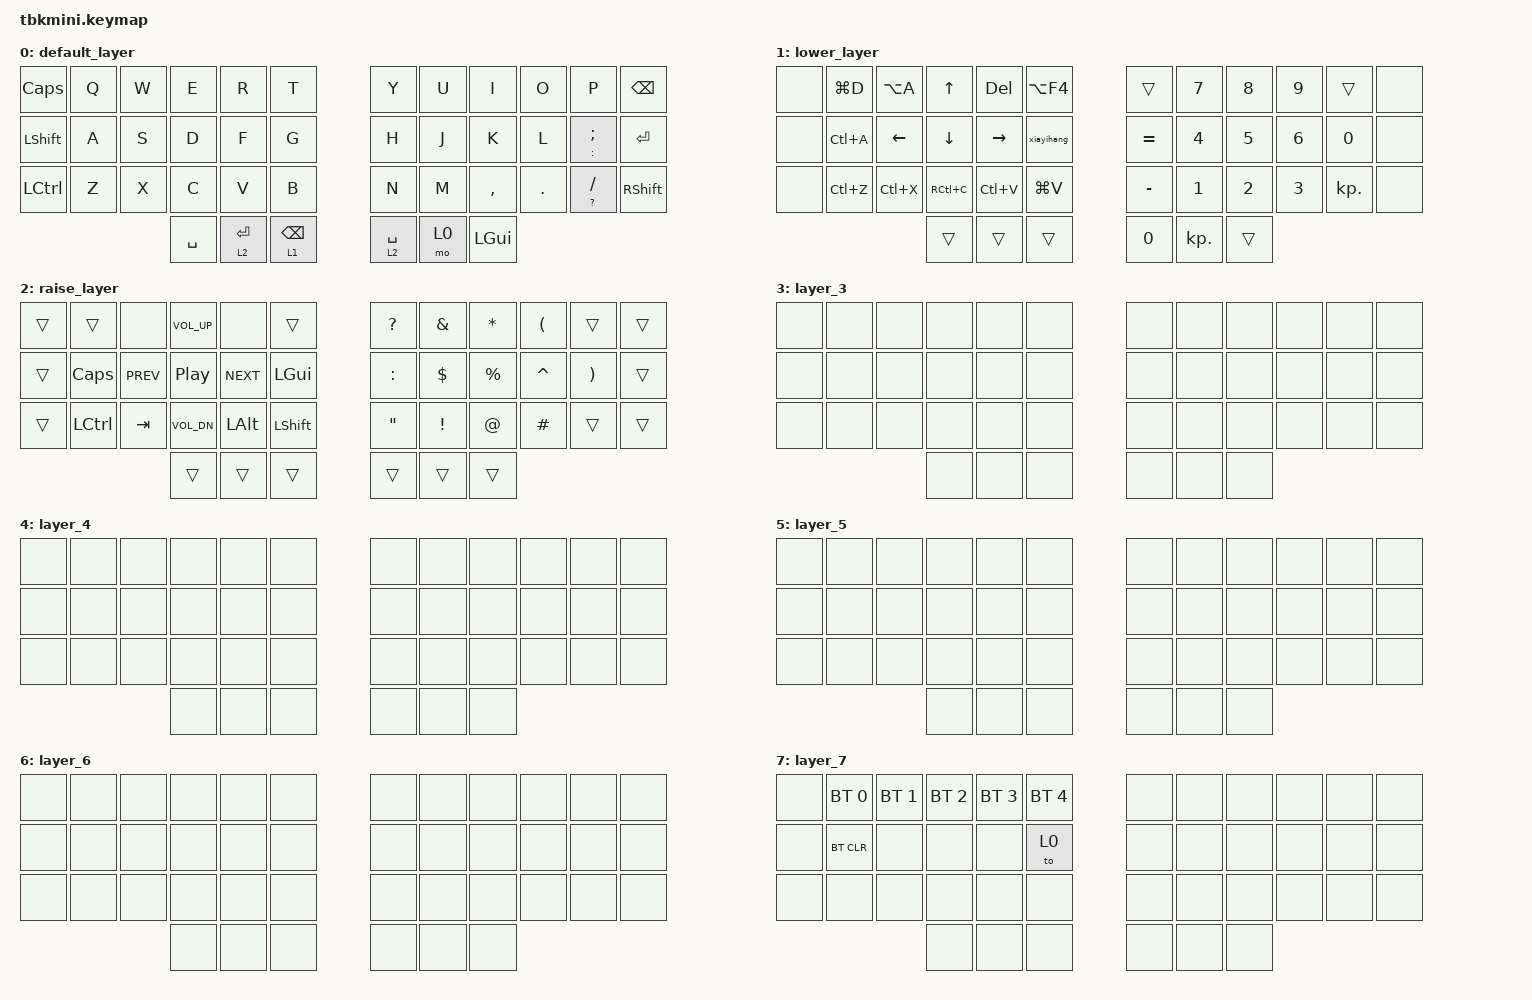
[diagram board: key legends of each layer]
/*
 * Copyright (c) 2020 The ZMK Contributors
 *
 * SPDX-License-Identifier: MIT
 */

#include <behaviors.dtsi>
#include <dt-bindings/zmk/bt.h>
#include <dt-bindings/zmk/keys.h>

&mt {
    tapping-term-ms = <200>;
    flavor = "tap-preferred";
};

&sk {
    release-after-ms = <2000>;
    quick-release;
};

/ {
    combos {
        compatible = "zmk,combos";

        esc {
            bindings = <&kp ESC>;
            key-positions = <0 1>;
        };

        to7 {
            bindings = <&to 7>;
            key-positions = <0 11>;
        };
    };

    behaviors {
        hm: homerow_mods {
            compatible = "zmk,behavior-hold-tap";
            label = "HOMEROW_MODS";
            #binding-cells = <2>;
            tapping-term-ms = <200>;
            quick_tap_ms = <0>;
            flavor = "tap-preferred";
            bindings = <&kp>, <&kp>;

            quick-tap-ms = <180>;
            global-quick-tap;
        };

        ltq: ltq {
            compatible = "zmk,behavior-hold-tap";
            label = "LTQ";
            #binding-cells = <2>;
            tapping-term-ms = <200>;
            flavor = "hold-preferred";
            bindings = <&mo>, <&kp>;

            quick-tap-ms = <180>;
        };

        as: as {
            compatible = "zmk,behavior-hold-tap";
            label = "AUTO_SHIFT";
            bindings = <&kp>, <&kp>;

            #binding-cells = <2>;
            tapping-term-ms = <135>;
            quick-tap-ms = <0>;
            flavor = "tap-preferred";
        };
    };

    macros {
        xiayihang: new_macro {
            compatible = "zmk,behavior-macro";
            #binding-cells = <0>;
            bindings = <&kp RIGHT_ARROW &kp ENTER>;
            label = "NEW_MACRO";
        };

        youxiang: youxiang {
            compatible = "zmk,behavior-macro";
            #binding-cells = <0>;
            bindings = <&kp N8 &kp N9 &kp NUMBER_4 &kp NUMBER_2 &kp NUMBER_4 &kp NUMBER_2 &kp NUMBER_1 &kp N0 &kp N0 &kp Q &kp Q &kp DOT &kp C &kp O &kp M>;
            label = "YOUXIANG";
        };
    };

    keymap {
        compatible = "zmk,keymap";

        default_layer {
            bindings = <
&kp CAPS        &kp Q      &kp W         &kp E        &kp R  &kp T  &kp Y  &kp U  &kp I         &kp O    &kp P                &kp BACKSPACE
&kp LEFT_SHIFT  &kp A      &kp S         &kp D        &kp F  &kp G  &kp H  &kp J  &kp K         &kp L    &as COLON SEMICOLON  &kp ENTER
&kp LCTRL       &kp Z      &kp X         &kp C        &kp V  &kp B  &kp N  &kp M  &kp COMMA     &kp DOT  &as QUESTION SLASH   &kp RIGHT_SHIFT
                &kp SPACE  &ltq 2 ENTER  &ltq 1 BSPC                              &ltq 2 SPACE  &mo 0    &kp LEFT_GUI
            >;
        };

        lower_layer {
            bindings = <
&none  &kp LG(D)  &kp LA(A)  &kp UP     &kp DELETE  &kp LA(F4)  &trans     &kp N7  &kp N8  &kp N9      &trans      &none
&none  &kp LC(A)  &kp LEFT   &kp DOWN   &kp RIGHT   &xiayihang  &kp EQUAL  &kp N4  &kp N5  &kp N6      &kp N0      &none
&none  &kp LC(Z)  &kp LC(X)  &kp RC(C)  &kp LC(V)   &kp LG(V)   &kp MINUS  &kp N1  &kp N2  &kp N3      &kp KP_DOT  &none
       &trans     &trans     &trans                                                &kp N0  &kp KP_DOT  &trans
            >;
        };

        raise_layer {
            bindings = <
&trans  &trans     &none       &kp C_VOL_UP  &none       &trans          &kp QUESTION       &kp AMPS  &kp ASTERISK  &kp LPAR   &trans    &trans
&trans  &kp CAPS   &kp C_PREV  &kp C_PP      &kp C_NEXT  &kp LGUI        &kp COLON          &kp DLLR  &kp PRCNT     &kp CARET  &kp RPAR  &trans
&trans  &kp LCTRL  &kp TAB     &kp C_VOL_DN  &kp LALT    &kp LEFT_SHIFT  &kp DOUBLE_QUOTES  &kp EXCL  &kp AT        &kp HASH   &trans    &trans
        &trans     &trans      &trans                                                                 &trans        &trans     &trans
            >;
        };

        layer_3 {
            bindings = <
&none  &none  &none  &none  &none  &none  &none  &none  &none  &none  &none  &none
&none  &none  &none  &none  &none  &none  &none  &none  &none  &none  &none  &none
&none  &none  &none  &none  &none  &none  &none  &none  &none  &none  &none  &none
       &none  &none  &none                              &none  &none  &none
            >;
        };

        layer_4 {
            bindings = <
&none  &none  &none  &none  &none  &none  &none  &none  &none  &none  &none  &none
&none  &none  &none  &none  &none  &none  &none  &none  &none  &none  &none  &none
&none  &none  &none  &none  &none  &none  &none  &none  &none  &none  &none  &none
       &none  &none  &none                              &none  &none  &none
            >;
        };

        layer_5 {
            bindings = <
&none  &none  &none  &none  &none  &none  &none  &none  &none  &none  &none  &none
&none  &none  &none  &none  &none  &none  &none  &none  &none  &none  &none  &none
&none  &none  &none  &none  &none  &none  &none  &none  &none  &none  &none  &none
       &none  &none  &none                              &none  &none  &none
            >;
        };

        layer_6 {
            bindings = <
&none  &none  &none  &none  &none  &none  &none  &none  &none  &none  &none  &none
&none  &none  &none  &none  &none  &none  &none  &none  &none  &none  &none  &none
&none  &none  &none  &none  &none  &none  &none  &none  &none  &none  &none  &none
       &none  &none  &none                              &none  &none  &none
            >;
        };

        layer_7 {
            bindings = <
&none  &bt BT_SEL 0  &bt BT_SEL 1  &bt BT_SEL 2  &bt BT_SEL 3  &bt BT_SEL 4  &none  &none  &none  &none  &none  &none
&none  &bt BT_CLR    &none         &none         &none         &to 0         &none  &none  &none  &none  &none  &none
&none  &none         &none         &none         &none         &none         &none  &none  &none  &none  &none  &none
       &none         &none         &none                                                   &none  &none  &none
            >;
        };
    };
};
